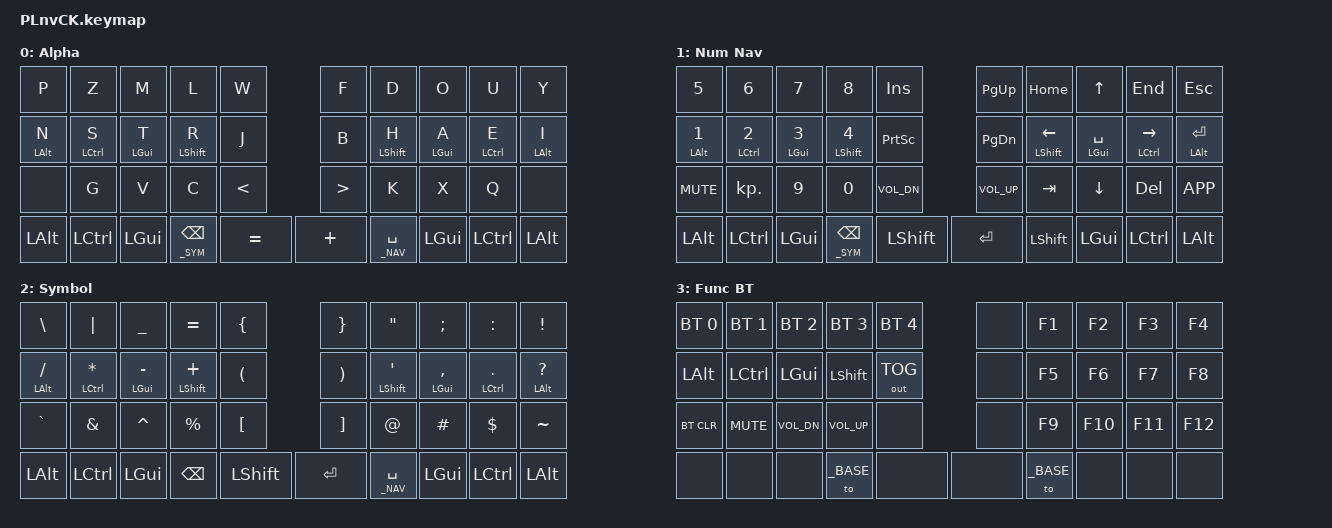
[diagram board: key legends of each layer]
/*
 * Copyright (c) 2021 The ZMK Contributors
 *
 * SPDX-License-Identifier: MIT
 */

#include <behaviors.dtsi>
#include <dt-bindings/zmk/keys.h>
#include <dt-bindings/zmk/bt.h>
#include <dt-bindings/zmk/outputs.h>
#include <dt-bindings/zmk/pointing.h>
#include "keypos_40keys.h"

#define _BASE    0
#define _NAV     1
#define _SYM     2
#define _BTF     3

&sl {
    quick-release;
    release-after-ms = <5000>;
};

/ {
// ------------------------- MACROS --------------------------------
    macros {
        // muc_you: macro_uc_you {
        //     compatible = "zmk,behavior-macro";
        //     #binding-cells = <0>;
        //     wait-ms = <0>;
        //     tap-ms = <5>;
        //     bindings
        //         = <&kp LS(Y)>
        //         , <&kp O>
        //         , <&kp U>
        //         ;
        // };

        // mlc_you: macro_lc_you {
        //     compatible = "zmk,behavior-macro";
        //     #binding-cells = <0>;
        //     wait-ms = <0>;
        //     tap-ms = <5>;
        //     bindings
        //         = <&kp Y>
        //         , <&kp O>
        //         , <&kp U>
        //         ;
        // };

        // muc_the: macro_uc_the {
        //     compatible = "zmk,behavior-macro";
        //     #binding-cells = <0>;
        //     wait-ms = <0>;
        //     tap-ms = <5>;
        //     bindings
        //         = <&kp LS(T)>
        //         , <&kp H>
        //         , <&kp E>
        //         ;
        // };

        // mlc_the: macro_lc_the {
        //     compatible = "zmk,behavior-macro";
        //     #binding-cells = <0>;
        //     wait-ms = <0>;
        //     tap-ms = <5>;
        //     bindings
        //         = <&kp T>
        //         , <&kp H>
        //         , <&kp E>
        //         ;
        // };

        // mlc_are: macro_lc_are {
        //     compatible = "zmk,behavior-macro";
        //     #binding-cells = <0>;
        //     wait-ms = <0>;
        //     tap-ms = <5>;
        //     bindings
        //         = <&kp A>
        //         , <&kp R>
        //         , <&kp E>
        //         ;
        // };

        mlc_qu: macro_lc_qu {
            compatible = "zmk,behavior-macro";
            #binding-cells = <0>;
            wait-ms = <0>;
            tap-ms = <5>;
            bindings
                = <&kp Q>
                , <&kp U>
                ;
        };

        // mlc_ould: macro_lc_ould {
        //     compatible = "zmk,behavior-macro";
        //     #binding-cells = <0>;
        //     wait-ms = <0>;
        //     tap-ms = <5>;
        //     bindings
        //         = <&kp O>
        //         , <&kp U>
        //         , <&kp L>
        //         , <&kp D>
        //         ;
        // };

        // mlc_ing: macro_lc_ing {
        //     compatible = "zmk,behavior-macro";
        //     #binding-cells = <0>;
        //     wait-ms = <0>;
        //     tap-ms = <5>;
        //     bindings
        //         = <&kp I>
        //         , <&kp N>
        //         , <&kp G>
        //         ;
        // };
    };

    combos {
        compatible = "zmk,combos";
// ------------------------- LAYER COMBOS --------------------------------
        combo_BOOT {
            timeout-ms = <50>;
            key-positions = <LB1 LB2 LB3>;
            bindings = <&bootloader>;
            layers = <_BTF>;
        };

        combo_BTF {
            timeout-ms = <50>;
            require-prior-idle-ms = <200>;
            key-positions = <LH1 RH1>;
            bindings = <&lht _BTF _BTF>;
            layers = <_BASE _SYM _NAV>;
        };

        combo_NAVR {
            timeout-ms = <50>;
            require-prior-idle-ms = <300>;
            key-positions = <RM1 RM2 RM3>;
            bindings = <&tog _NAV>;
            layers = <_BASE _SYM _NAV>;
        };

        combo_NAVL {
            timeout-ms = <50>;
            require-prior-idle-ms = <300>;
            key-positions = <LM1 LM2 LM3>;
            bindings = <&tog _NAV>;
            layers = <_BASE _SYM _NAV>;
        };

// ------------------------- UTILITY COMBOS --------------------------------
        combo_LOGON {
            timeout-ms = <50>;
            key-positions = <LH2 LH3 LH4>;
            bindings = <&kp LC(LA(DEL))>;
        };

// ------------------------- MODS COMBOS --------------------------------
        combo_CAPS {
            timeout-ms = <50>;
            key-positions = <LM1 RM1>;
            bindings = <&caps_word>;
            require-prior-idle-ms = <200>;
            layers = <_BASE>;
        };

        // combo_RALTL {
        //     timeout-ms = <40>;
        //     key-positions = <LMP LTP>;
        //     bindings = <&kp RALT>;
        //     require-prior-idle-ms = <200>;
        //     //layers = <_BASE>;
        // };

        // combo_RALTR {
        //     timeout-ms = <40>;
        //     key-positions = <LMP RTP>;
        //     bindings = <&kp RALT>;
        //     require-prior-idle-ms = <200>;
        //     //layers = <_BASE>;
        // };

// ------------------------- CHARACTER COMBOS --------------------------------
        // combo_OULD {
        //     timeout-ms = <50>;
        //     key-positions = <RT1 RT2 RT3>;
        //     bindings = <&mlc_ould>;
        //     layers = <_BASE>;
        // };

        // combo_ING {
        //     timeout-ms = <50>;
        //     key-positions = <RM1 RM2 RM3>;
        //     bindings = <&mlc_ing>;
        //     layers = <_BASE>;
        // };

        // combo_YOU {
        //     timeout-ms = <50>;
        //     key-positions = <RT1 RT2 RT3>;
        //     bindings = <&mm_you>;
        //     layers = <_BASE>;
        // };

        // combo_THE {
        //     timeout-ms = <50>;
        //     key-positions = <LM1 LM2 LM3>;
        //     bindings = <&mm_the>;
        //     layers = <_BASE>;
        // };

        combo_QU {
            timeout-ms = <150>;
            key-positions = <RB2 RB3>;
            bindings = <&mlc_qu>;
            layers = <_BASE>;
        };

// ------------------------- SYMBOL COMBOS --------------------------------
        combo_LPAR {
            timeout-ms = <45>;
            require-prior-idle-ms = <200>;
            key-positions = <LM2 LM1>;
            bindings = <&kp LPAR>;
            layers = <_BASE _SYM>;
        };

        combo_RPAR {
            timeout-ms = <45>;
            require-prior-idle-ms = <200>;
            key-positions = <RM1 RM2>;
            bindings = <&kp RPAR>;
            layers = <_BASE _SYM>;
        };

        combo_LBRC {
            timeout-ms = <45>;
            require-prior-idle-ms = <200>;
            key-positions = <LT2 LT1>;
            bindings = <&kp LBRC>;
            layers = <_BASE _SYM>;
        };

        combo_RBRC {
            timeout-ms = <45>;
            require-prior-idle-ms = <200>;
            key-positions = <RT1 RT2>;
            bindings = <&kp RBRC>;
            layers = <_BASE _SYM>;
        };

        combo_LBKT {
            timeout-ms = <45>;
            require-prior-idle-ms = <200>;
            key-positions = <LB2 LB1>;
            bindings = <&kp LBKT>;
            layers = <_BASE _SYM>;
        };

        combo_RBKT {
            timeout-ms = <45>;
            require-prior-idle-ms = <200>;
            key-positions = <RB1 RB2>;
            bindings = <&kp RBKT>;
            layers = <_BASE _SYM>;
        };

        combo_GT {
            timeout-ms = <45>;
            require-prior-idle-ms = <200>;
            key-positions = <RM2 RM3>;
            bindings = <&kp GT>;
            layers = <_BASE _SYM>;
        };

        combo_LT {
            timeout-ms = <45>;
            require-prior-idle-ms = <200>;
            key-positions = <LM2 LM3>;
            bindings = <&kp LT>;
            layers = <_BASE _SYM>;
        };

    };

    behaviors {
// ------------------------- TAP-DANCES --------------------------------
        cp_c: cp_c {
            compatible = "zmk,behavior-tap-dance";
            #binding-cells = <0>;
            tapping-term-ms = <400>;
            bindings = <&kp LC(C)>, <&kp LG(C)>;
        };

        cp_v: cp_v {
            compatible = "zmk,behavior-tap-dance";
            #binding-cells = <0>;
            tapping-term-ms = <400>;
            bindings = <&kp LC(V)>, <&kp LG(V)>;
        };

        cp_x: cp_x {
            compatible = "zmk,behavior-tap-dance";
            #binding-cells = <0>;
            tapping-term-ms = <400>;
            bindings = <&kp LC(X)>, <&kp LG(X)>;
        };

// ------------------------- HOLD-TAPS --------------------------------
        /* left-hand HRMs */
        hml: hrm_left {
            compatible = "zmk,behavior-hold-tap";
            #binding-cells = <2>;
            flavor = "balanced";
            tapping-term-ms = <300>;
            quick-tap-ms = <170>;                // repeat on tap-into-hold
            require-prior-idle-ms = <250>;
            bindings = <&kp>, <&kp>;
            hold-trigger-key-positions = <KEYS_R THUMBS>;
            hold-trigger-on-release;             // delay positional check until key-release
        };

        /* right-hand HRMs */
        hmr: hrm_right {
            compatible = "zmk,behavior-hold-tap";
            #binding-cells = <2>;
            flavor = "balanced";
            tapping-term-ms = <300>;
            quick-tap-ms = <170>;                // repeat on tap-into-hold
            require-prior-idle-ms = <250>;
            bindings = <&kp>, <&kp>;
            hold-trigger-key-positions = <KEYS_L THUMBS>;
            hold-trigger-on-release;             // delay positional check until key-release
        };

        hsl: hrs_left {
            compatible = "zmk,behavior-hold-tap";
            #binding-cells = <2>;
            flavor = "balanced";
            tapping-term-ms = <300>;
            quick-tap-ms = <170>;                // repeat on tap-into-hold
            require-prior-idle-ms = <120>;
            bindings = <&kp>, <&kp>;
            hold-trigger-key-positions = <KEYS_R THUMBS>;
            // hold-trigger-on-release;             // delay positional check until key-release
        };

        hsr: hrs_right {
            compatible = "zmk,behavior-hold-tap";
            #binding-cells = <2>;
            flavor = "balanced";
            tapping-term-ms = <300>;
            quick-tap-ms = <170>;                // repeat on tap-into-hold
            require-prior-idle-ms = <120>;
            bindings = <&kp>, <&kp>;
            hold-trigger-key-positions = <KEYS_L THUMBS>;
            // hold-trigger-on-release;             // delay positional check until key-release
        };

        bst: backspace-tap {
            compatible = "zmk,behavior-hold-tap";
            #binding-cells = <2>;
            flavor = "balanced";
            tapping-term-ms = <300>;
            quick-tap-ms = <170>;
            //require-prior-idle-ms = <100>;
            bindings = <&mo>, <&kp>;
        };

        spt: space-tap {
            compatible = "zmk,behavior-hold-tap";
            #binding-cells = <2>;
            flavor = "balanced";
            tapping-term-ms = <300>;
            quick-tap-ms = <170>;
            //require-prior-idle-ms = <100>;
            bindings = <&mo>, <&kp>;
        };

        lht: layer-hold-tap {
            compatible = "zmk,behavior-hold-tap";
            #binding-cells = <2>;
            flavor = "hold-preferred";
            tapping-term-ms = <300>;
            quick-tap-ms = <150>;
            //require-prior-idle-ms = <100>;
            bindings = <&mo>, <&to>;
        };
// ------------------------- MOD-MORPHS --------------------------------
        // com_sem: comma_semicolon {
        //     compatible = "zmk,behavior-mod-morph";
        //     #binding-cells = <0>;
        //     bindings = <&kp COMMA>, <&kp SEMI>;
        //     mods = <(MOD_LSFT)>;
        // };

        // dot_col: dot_colon {
        //     compatible = "zmk,behavior-mod-morph";
        //     #binding-cells = <0>;
        //     bindings = <&kp DOT>, <&kp COLON>;
        //     mods = <(MOD_LSFT)>;
        // };

        // mm_you: mm_you {
        //     compatible = "zmk,behavior-mod-morph";
        //     #binding-cells = <0>;
        //     bindings = <&mlc_you>, <&muc_you>;
        //     mods = <(MOD_LSFT)>;
        // };

        // mm_the: mm_the {
        //     compatible = "zmk,behavior-mod-morph";
        //     #binding-cells = <0>;
        //     bindings = <&mlc_the>, <&muc_the>;
        //     mods = <(MOD_LSFT)>;
        // };

    };

    keymap {
        compatible = "zmk,keymap";

                base_layer {
                    display-name = "Alpha";
// -------------------------------            -------------------------------
// |  P  |  Z  |  M  |  L  |  W  |            |  F  |  D  |  O  |  U  |  Y  |
// |  N  |  S  |  T  |  R  |  J  |            |  B  |  H  |  A  |  E  |  I  |
// | wCP |  G  |  V  |  C  |  <  |            |  >  |  K  |  X  |  Q  | mCP |
// | Alt | Ctl | Gui | _SYM(BSPC) |  =  |  +  | _NAV(SPC) | Gui | Ctl | Alt |
                        bindings = <
   &kp P        &kp Z        &kp M       &kp L        &kp W           &kp F     &kp D        &kp O       &kp U        &kp Y
   &hml LALT N  &hml LCTRL S &hml LGUI T &hsl LSHFT R &kp J           &kp B     &hsr LSHFT H &hmr LGUI A &hmr LCTRL E &hmr LALT I 
   &none        &kp G        &kp V       &kp C        &kp LT          &kp GT    &kp K        &kp X       &kp Q        &none
   &kp LALT     &kp LCTRL    &kp LGUI    &bst _SYM BSPC &kp EQUAL   &kp PLUS &spt _NAV SPACE &kp LGUI    &kp LCTRL    &kp LALT
                        >;
                };

                nav_layer {
                    display-name = "Num Nav";
// -------------------------------       ----------------------------------
// |  5  |  6  |  7  |  8  | INS |       | pUP | HOME |  UP  | END  | ESC |
// |  1  |  2  |  3  |  4  | PSC |       | pDN | LEFT | SPC  | RGHT | RET |
// |  v. | , . |  9  |  0  |  v- |       |  v+ | TAB  | DOWN | DEL  | APP |
// | Alt | Ctl | Gui | _SYM(BSPC) | LSFT | RET | LSFT | Gui  | Ctl  | Alt |
                        bindings = <
   &kp N5        &kp N6        &kp N7       &kp N8        &kp INS         &kp PG_UP    &kp HOME        &kp UP          &kp END          &kp ESC
   &hml LALT N1  &hml LCTRL N2 &hml LGUI N3 &hsl LSHFT N4 &kp PSCRN       &kp PG_DN    &hsr LSHFT LEFT &hmr LGUI SPACE &hmr LCTRL RIGHT &hmr LALT RET
   &kp C_MUTE    &kp KP_DOT    &kp N9       &kp N0        &kp C_VOL_DN    &kp C_VOL_UP &kp TAB         &kp DOWN        &kp DEL          &kp K_APP
   &kp LALT      &kp LCTRL     &kp LGUI     &bst _SYM BSPC &kp LSHFT      &kp RET      &kp LSHFT       &kp LGUI        &kp LCTRL        &kp LALT
                        >;
                };
                
                sym_layer {
                    display-name = "Symbol";
// -------------------------------       -------------------------------
// |  \  |  |  |  _  |  =  |  {  |       |  }  |  "  |  ;  |  :  |  !  |
// |  /  |  *  |  -  |  +  |  (  |       |  )  |  '  |  ,  |  .  |  ?  |
// |  `  |  &  |  ^  |  %  |  [  |       |  ]  |  @  |  #  |  $  |  ~  |
// | Alt | Ctl | Gui | BSPC | LSFT | RET | _NAV(SPC) | Gui | Ctl | Alt |
                        bindings = <
   &kp BSLH        &kp PIPE        &kp UNDER       &kp EQUAL       &kp LBRC         &kp RBRC &kp DQT        &kp SEMI        &kp COLON      &kp EXCL
   &hml LALT SLASH &hml LCTRL STAR &hml LGUI MINUS &hsl LSHFT PLUS &kp LPAR         &kp RPAR &hsr LSHFT SQT &hmr LGUI COMMA &hmr LCTRL DOT &hmr LALT QMARK
   &kp GRAVE       &kp AMPS        &kp CARET       &kp PRCNT       &kp LBKT         &kp RBKT &kp AT         &kp HASH        &kp DLLR       &kp TILDE
   &kp LALT        &kp LCTRL       &kp LGUI        &kp BSPC        &kp LSHFT        &kp RET &spt _NAV SPACE &kp LGUI        &kp LCTRL      &kp LALT
                        >;
                };

                btf_layer {
                    display-name = "Func BT";
// -------------------------------     -----------------------------
// | BT1 | BT2 | BT3 | BT4 | BT5 |     |    | F1 | F2  | F3  | F4  |     
// | Alt | Ctl | Gui | Sft | USB |     |    | F5 | F6  | F7  | F8  |
// | CLR |  v. |  v- |  v+ |     |     |    | F9 | F10 | F11 | F12 |
// |     |     |     |     |        |       |    |     |     |     |
                        bindings = <
   &bt BT_SEL 0 &bt BT_SEL 1 &bt BT_SEL 2 &bt BT_SEL 3 &bt BT_SEL 4    &none  &kp F1  &kp F2  &kp F3  &kp F4
   &kp LALT     &kp LCTRL    &kp LGUI     &kp LSHFT    &out OUT_TOG    &none  &kp F5  &kp F6  &kp F7  &kp F8
   &bt BT_CLR   &kp C_MUTE   &kp C_VOL_DN &kp C_VOL_UP &none           &none  &kp F9  &kp F10 &kp F11 &kp F12
   &none        &none        &none        &to _BASE    &none           &none  &to _BASE  &none   &none   &none
                        >;
                };   

                extra1 {
                        status = "reserved";
                };

                extra2 {
                        status = "reserved";
                };
             
    };
};
